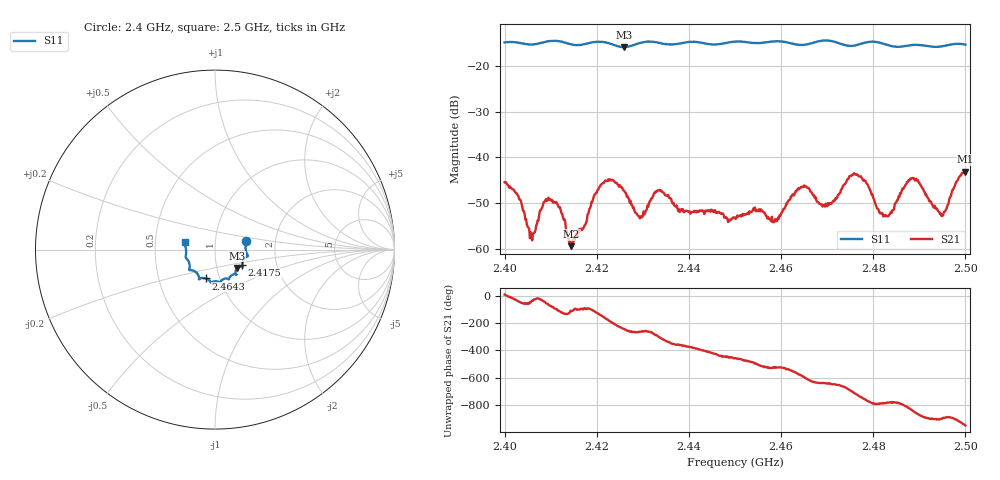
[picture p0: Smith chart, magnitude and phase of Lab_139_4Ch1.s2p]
# Hz S RI R 50
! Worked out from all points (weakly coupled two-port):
!   601 points, 2.4 GHz to 2.5 GHz, reference 50 ohm
!   highest |S21| = -43.10 dB at 2.5 GHz (marker M1); lowest = -59.4 dB at 2.4145 GHz (marker M2)
!   lowest |S11| = -15.9 dB at 2.4258 GHz (marker M3), VSWR 1.38, Z = 62.3 - j13.2 ohm
!   |S11| at or under -10 dB: start of sweep to end of sweep
!   S12 and S22 are empty: the file has one direction only
!   S11 on the Smith chart (normalised r, x): 2.4 GHz: 1.41, +0.14; 2.4175 GHz: 1.33, -0.23; 2.4643 GHz: 0.86, -0.29; 2.5 GHz: 0.72, +0.06
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2.4e9  0.173 0.0485  0.0053 0.000777  0 0  0 0
2.403167e9  0.1747 0.0338  0.00252 -0.00241  0 0  0 0
2.405833e9  0.1702 0.00454  0.001 -0.000913  0 0  0 0
2.409833e9  0.1828 -0.033  0.00108 -0.00333  0 0  0 0
2.4145e9  0.1634 -0.0504  -0.000418 -0.000988  0 0  0 0
2.416667e9  0.1525 -0.0738  -0.000143 -0.00166  0 0  0 0
2.4175e9  0.1514 -0.0834  -7.65e-05 -0.00183  0 0  0 0
2.421333e9  0.1538 -0.0968  -0.00468 -0.00238  0 0  0 0
2.425833e9  0.1218 -0.1029  -0.00199 0.00389  0 0  0 0
2.4295e9  0.116 -0.1347  -0.000223 0.00217  0 0  0 0
2.433333e9  0.1136 -0.1374  0.00215 0.0038  0 0  0 0
2.438e9  0.0819 -0.1543  0.00253 -8.97e-05  0 0  0 0
2.45e9  0.0282 -0.1813  -0.000228 -0.00219  0 0  0 0
2.458667e9  -0.0222 -0.1833  -0.00204 -0.000484  0 0  0 0
2.464333e9  -0.0498 -0.1609  -0.00344 0.00329  0 0  0 0
2.466667e9  -0.0763 -0.1589  -0.000224 0.0041  0 0  0 0
2.470333e9  -0.0888 -0.1656  0.000735 0.00293  0 0  0 0
2.476167e9  -0.1181 -0.118  0.00653 0.000298  0 0  0 0
2.483333e9  -0.1407 -0.0899  0.00105 -0.00204  0 0  0 0
2.4885e9  -0.1621 -0.0465  -0.00297 -0.00518  0 0  0 0
2.495e9  -0.1628 0.0103  -0.00234 -8.81e-05  0 0  0 0
2.5e9  -0.1645 0.0434  -0.00451 0.00535  0 0  0 0
